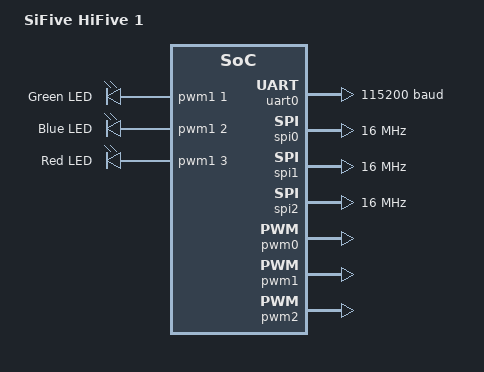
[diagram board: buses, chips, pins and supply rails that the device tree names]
/dts-v1/;

#include <riscv32-fe310.dtsi>

/ {
	model = "SiFive HiFive 1";
	compatible = "sifive,hifive1";
	aliases {
		led0 = &led0;
		led1 = &led1;
		led2 = &led2;
	};

	chosen {
		zephyr,console = &uart0;
		zephyr,shell-uart = &uart0;
	};

	leds {
		compatible = "pwm-leds";
		led0: led_0 {
			pwms = <&pwm1 1 0>;
			label = "Green LED";
		};
		led1: led_1 {
			pwms = <&pwm1 2 0>;
			label = "Blue LED";
		};
		led2: led_2 {
			pwms = <&pwm1 3 0>;
			label = "Red LED";
		};
	};
};

&gpio0 {
	status = "ok";
};

&uart0 {
	status = "ok";
	current-speed = <115200>;
	clock-frequency = <16000000>;
};

&uart1 {
	clock-frequency = <16000000>;
};

&spi0 {
	status = "ok";
	clock-frequency = <16000000>;
};

&spi1 {
	status = "ok";
	clock-frequency = <16000000>;
};

&spi2 {
	status = "ok";
	clock-frequency = <16000000>;
};

&pwm0 {
	status = "ok";
	clock-frequency = <16000000>;
};

&pwm1 {
	status = "ok";
	clock-frequency = <16000000>;
};

&pwm2 {
	status = "ok";
	clock-frequency = <16000000>;
};

